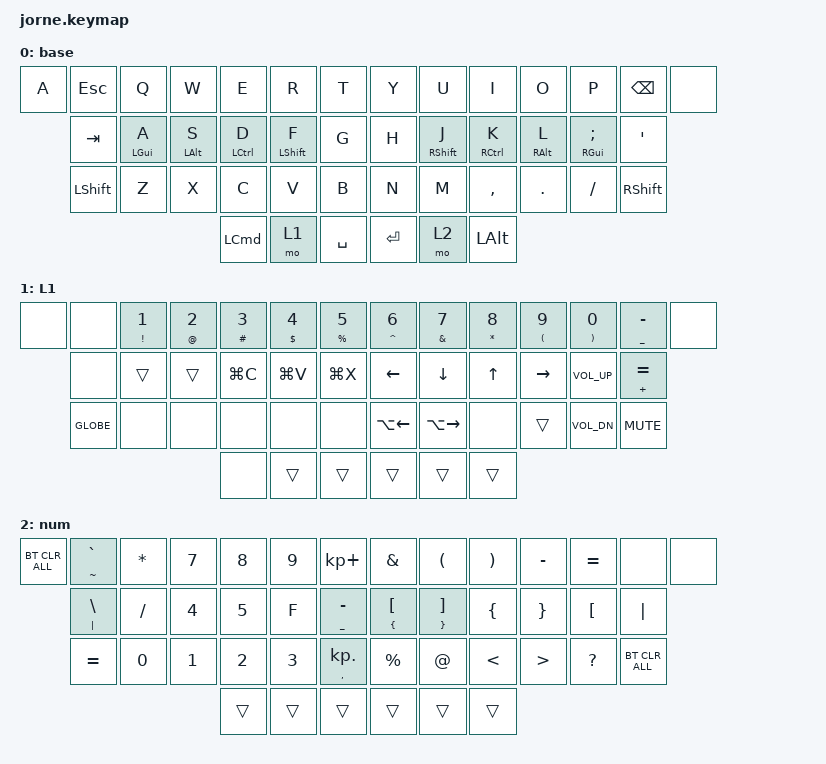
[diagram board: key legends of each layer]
/*
 * Copyright (c) 2020 The ZMK Contributors
 *
 * SPDX-License-Identifier: MIT
 */

#include <behaviors.dtsi>
#include <dt-bindings/zmk/bt.h>
#include <dt-bindings/zmk/keys.h>

/ {
    combos {
        compatible = "zmk,combos";

        combo_game {
            bindings = <&tog 0>;
            key-positions = <38 43>;
            timeout-ms = <200>;
        };

        game_esc {
            bindings = <&kp ESC>;
            key-positions = <2 3>;
        };
    };

    behaviors {
        hml: hml {
            compatible = "zmk,behavior-hold-tap";
            label = "HML";
            bindings = <&kp>, <&kp>;

            #binding-cells = <2>;
            tapping-term-ms = <220>;
            quick-tap-ms = <175>;
            flavor = "balanced";
            require-prior-idle-ms = <100>;
            hold-trigger-key-positions = <7 8 9 10 11 12 13 20 21 22 23 24 25 32 33 34 35 36 37 38 39 40 41 42 43>;
            hold-trigger-on-release;
        };

        hmr: hmr {
            compatible = "zmk,behavior-hold-tap";
            label = "HMR";
            bindings = <&kp>, <&kp>;

            #binding-cells = <2>;
            tapping-term-ms = <220>;
            quick-tap-ms = <175>;
            require-prior-idle-ms = <100>;
            flavor = "balanced";
            hold-trigger-key-positions = <0 1 2 3 4 5 6 14 15 16 17 18 19 26 27 28 29 30 31 38 39 40 41 42 43>;
            hold-trigger-on-release;
        };

        tkl: tkl {
            compatible = "zmk,behavior-hold-tap";
            label = "TKL";
            bindings = <&mo>, <&kp>;

            #binding-cells = <2>;
            tapping-term-ms = <220>;
            quick-tap-ms = <175>;
            flavor = "balanced";
            require-prior-idle-ms = <100>;
            hold-trigger-key-positions = <7 8 9 10 11 12 13 20 21 22 23 24 25 32 33 34 35 36 37 38 39 40 41 42 43>;
            hold-trigger-on-release;
        };

        tkr: tkr {
            compatible = "zmk,behavior-hold-tap";
            label = "TKR";
            bindings = <&mo>, <&kp>;

            #binding-cells = <2>;
            tapping-term-ms = <220>;
            quick-tap-ms = <175>;
            require-prior-idle-ms = <100>;
            flavor = "balanced";
            hold-trigger-key-positions = <0 1 2 3 4 5 6 14 15 16 17 18 19 26 27 28 29 30 31 38 39 40 41 42 43>;
            hold-trigger-on-release;
        };
    };

    keymap {
        compatible = "zmk,keymap";

        base {
            // Jorne: 44 keys (positions 0 and 13 are extra outer keys, not present physically)
            // -----------------------------------------------------------------------------------------
            // | x |  ESC |  Q  |  W  |  E  |  R  |  T  |   |  Y  |  U   |  I  |  O  |  P  | BKSP | x |
            //     | TAB  |  A  |  S  |  D  |  F  |  G  |   |  H  |  J   |  K  |  L  |  '  |  '   |
            //     | SHFT |  Z  |  X  |  C  |  V  |  B  |   |  N  |  M   |  ,  |  .  |  /  | SHFT |
            //                        | GUI | LWR | SPC |   | ENT | RSE  | ALT |

            bindings = <
&kp A  &kp ESC         &kp Q            &kp W            &kp E                &kp R              &kp T        &kp Y      &kp U               &kp I                 &kp O             &kp P                     &kp BACKSPACE     &none
       &kp TAB         &hml LEFT_GUI A  &hml LEFT_ALT S  &hml LEFT_CONTROL D  &hml LEFT_SHIFT F  &kp G        &kp H      &hmr RIGHT_SHIFT J  &hmr RIGHT_CONTROL K  &hmr RIGHT_ALT L  &hmr RIGHT_GUI SEMICOLON  &kp SINGLE_QUOTE
       &kp LEFT_SHIFT  &kp Z            &kp X            &kp C                &kp V              &kp B        &kp N      &kp M               &kp COMMA             &kp DOT           &kp FSLH                  &kp RIGHT_SHIFT
                                                         &kp LEFT_COMMAND     &mo 1              &kp SPACE    &kp ENTER  &mo 2               &kp LEFT_ALT
            >;
        };

        L1 {
            bindings = <
&none  &none      &mt EXCLAMATION NUMBER_1  &mt AT_SIGN NUMBER_2  &mt POUND NUMBER_3  &mt DOLLAR NUMBER_4  &mt PERCENT NUMBER_5    &mt CARET NUMBER_6  &mt AMPERSAND NUMBER_7  &mt ASTERISK NUMBER_8  &mt LEFT_PARENTHESIS NUMBER_9  &mt RIGHT_PARENTHESIS NUMBER_0  &mt UNDERSCORE MINUS  &none
       &none      &trans                    &trans                &kp LG(C)           &kp LG(V)            &kp LG(X)               &kp LEFT_ARROW      &kp DOWN_ARROW          &kp UP_ARROW           &kp RIGHT_ARROW                &kp C_VOLUME_UP                 &mt PLUS EQUAL
       &kp GLOBE  &none                     &none                 &none               &none                &none                   &kp LA(LEFT)        &kp LA(RIGHT)           &none                  &trans                         &kp C_VOL_DN                    &kp K_MUTE
                                                                  &none               &trans               &trans                  &trans              &trans                  &trans
            >;
        };

        num {
            bindings = <
&bt BT_CLR_ALL  &mt TILDE GRAVE  &kp ASTERISK  &kp N7  &kp N8  &kp N9  &kp KP_PLUS             &kp AMPERSAND                &kp LEFT_PARENTHESIS           &kp RIGHT_PARENTHESIS  &kp MINUS         &kp EQUAL         &none           &none
                &mt PIPE BSLH    &kp SLASH     &kp N4  &kp N5  &kp F   &mt UNDERSCORE MINUS    &mt LEFT_BRACE LEFT_BRACKET  &mt RIGHT_BRACE RIGHT_BRACKET  &kp LEFT_BRACE         &kp RIGHT_BRACE   &kp LEFT_BRACKET  &kp PIPE
                &kp EQUAL        &kp NUMBER_0  &kp N1  &kp N2  &kp N3  &mt COMMA KP_DOT        &kp PERCENT                  &kp AT_SIGN                    &kp LESS_THAN          &kp GREATER_THAN  &kp QUESTION      &bt BT_CLR_ALL
                                                       &trans  &trans  &trans                  &trans                       &trans                         &trans
            >;
        };
    };
};
